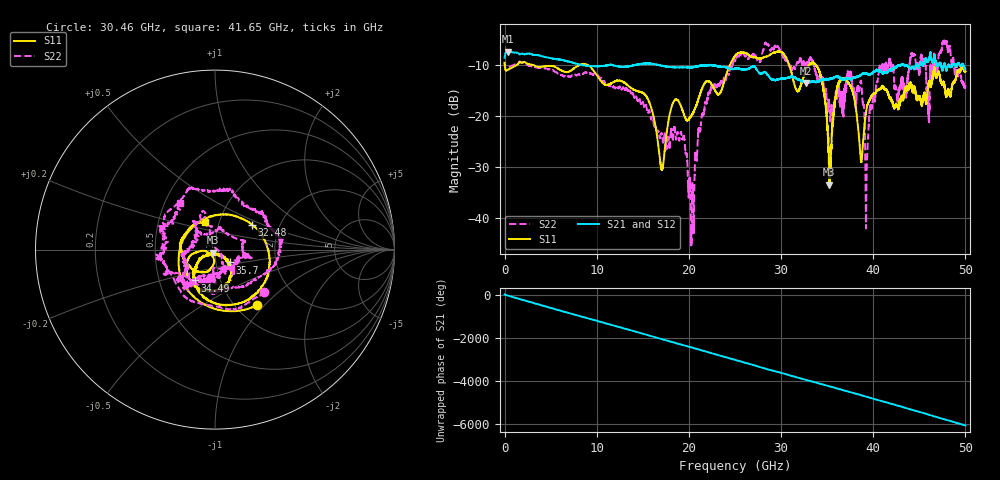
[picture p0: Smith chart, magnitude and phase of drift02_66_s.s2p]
!Created with skrf (http://scikit-rf.org).
# Hz S RI R 50.0
!freq ReS11 ImS11 ReS21 ImS21 ReS12 ImS12 ReS22 ImS22
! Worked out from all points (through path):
!   10001 points, 300 kHz to 50 GHz, reference 50 ohm
!   highest |S21| = -7.31 dB at 325.3 MHz (marker M1); lowest = -13.5 dB at 32.73 GHz (marker M2)
!   group delay of S21, straight-line fit = 335 ps
!   lowest |S11| = -33.4 dB at 35.24 GHz (marker M3), VSWR 1.04, Z = 48.7 - j1.66 ohm
!   |S11| at or under -10 dB: 3.232 GHz to 8.004 GHz (4.772 GHz wide, 84.9 % of centre); 9.103 GHz to 24.41 GHz (15.31 GHz wide, 91.4 % of centre); 33.83 GHz to end of sweep (the widest 3 of 9)
!   |S22| runs from -45.5 to -5.1 dB; largest |S21 - S12| = 0.015
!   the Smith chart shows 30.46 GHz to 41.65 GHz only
!   S11 on the Smith chart (normalised r, x): 30.46 GHz: 1.25, -0.91; 32.48 GHz: 1.45, +0.42; 34.49 GHz: 0.76, -0.27; 35.7 GHz: 1.17, -0.17; 41.65 GHz: 0.86, +0.27
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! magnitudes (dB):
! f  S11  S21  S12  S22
! 300 kHz  -9.5  -8.5  -8.4  -9.4
! 325.3 MHz  -10.9  -7.3  -7.3  -10.6
! 8.335 GHz  -9.7  -9.9  -9.9  -11.6
! 16.67 GHz  -25.6  -9.9  -9.9  -22.9
! 19.31 GHz  -18.9  -10.4  -10.3  -24.6
! 20.36 GHz  -19.6  -10.3  -10.4  -34.8
! 21.93 GHz  -13.1  -10.0  -10.0  -17.4
! 25 GHz  -8.2  -10.6  -10.6  -9.0
! 30.46 GHz  -8.2  -12.5  -12.4  -8.8
! 32.48 GHz  -12.1  -13.2  -13.2  -9.3
! 32.73 GHz  -10.9  -13.5  -13.5  -10.0
! 33.34 GHz  -9.6  -13.2  -13.2  -9.1
! 34.49 GHz  -13.8  -12.8  -12.8  -12.3
! 35.24 GHz  -33.4  -12.7  -12.7  -17.7
! 35.7 GHz  -19.2  -12.4  -12.4  -18.8
! 37.12 GHz  -12.8  -12.6  -12.5  -13.3
! 38.54 GHz  -25.9  -12.1  -12.0  -14.3
! 39.31 GHz  -18.2  -11.6  -11.6  -29.1
! 41.65 GHz  -15.7  -11.1  -11.2  -9.8
! 41.67 GHz  -15.9  -10.9  -11.1  -9.8
! 47.77 GHz  -14.5  -9.8  -9.8  -5.5
! 50 GHz  -11.2  -10.8  -10.8  -14.0
